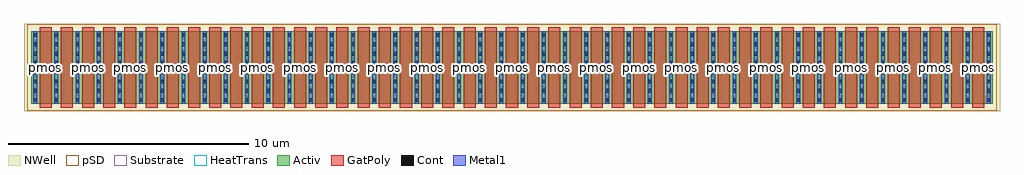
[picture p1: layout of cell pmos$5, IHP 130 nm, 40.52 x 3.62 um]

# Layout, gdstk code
import gdstk
lib = gdstk.Library(unit=1e-6, precision=5e-09)
def R(c, l, rs):  # rectangles x0, y0, x1, y1
    for r in rs: c.add(gdstk.rectangle(r[:2], r[2:], *l))
def A(c, l, x, y, w, h, nx, ny, dx, dy):  # array of equal rectangles
    R(c, l, [(x+i*dx, y+j*dy, x+i*dx+w, y+j*dy+h) for i in range(nx) for j in range(ny)])
Activ = (1, 0)
GatPoly = (5, 0)
Cont = (6, 0)
Metal1 = (8, 0)
pSD = (14, 0)
NWell = (31, 0)
Substrate = (40, 0)
HeatTrans = (51, 0)

pmos_5 = lib.new_cell('pmos$5')
A(pmos_5, Activ, 0, 0, 0.3, 0.3, 46, 1, 0.88, 0)
R(pmos_5, Activ, [(0,0,39.9,3)])
A(pmos_5, GatPoly, 0.34, -0.18, 0.5, 3.36, 45, 1, 0.88, 0)
R(pmos_5, GatPoly, [(0.34,-0.18,0.84,3.18)])
A(pmos_5, Cont, 0.07, 0.07, 0.16, 0.16, 46, 7, 0.88, 0.385)
A(pmos_5, Cont, 0.07, 2.77, 0.16, 0.16, 46, 1, 0.88, 0)
A(pmos_5, Metal1, 0.95, 0, 0.16, 3, 45, 1, 0.88, 0)
R(pmos_5, Metal1, [(0.07,0,0.23,3), (0.07,0,0.23,3), (0.95,0,1.11,3)])
R(pmos_5, pSD, [(-0.18,-0.3,40.08,3.3)])
R(pmos_5, NWell, [(-0.31,-0.31,40.21,3.31)])
R(pmos_5, Substrate, [(39.6,0,39.9,0.3)])
A(pmos_5, HeatTrans, 0.34, -0.18, 0.5, 3.36, 45, 1, 0.88, 0)
pmos_5.add(gdstk.Label('pmos', (0.59,1.5), layer=63, texttype=0))
pmos_5.add(gdstk.Label('pmos', (0.59,1.5), layer=51, texttype=0))
pmos_5.add(gdstk.Label('pmos', (1.47,1.5), layer=51, texttype=0))
pmos_5.add(gdstk.Label('pmos', (2.35,1.5), layer=51, texttype=0))
pmos_5.add(gdstk.Label('pmos', (3.23,1.5), layer=51, texttype=0))
pmos_5.add(gdstk.Label('pmos', (4.11,1.5), layer=51, texttype=0))
pmos_5.add(gdstk.Label('pmos', (4.99,1.5), layer=51, texttype=0))
pmos_5.add(gdstk.Label('pmos', (5.87,1.5), layer=51, texttype=0))
pmos_5.add(gdstk.Label('pmos', (6.75,1.5), layer=51, texttype=0))
pmos_5.add(gdstk.Label('pmos', (7.63,1.5), layer=51, texttype=0))
pmos_5.add(gdstk.Label('pmos', (8.51,1.5), layer=51, texttype=0))
pmos_5.add(gdstk.Label('pmos', (9.39,1.5), layer=51, texttype=0))
pmos_5.add(gdstk.Label('pmos', (10.27,1.5), layer=51, texttype=0))
pmos_5.add(gdstk.Label('pmos', (11.15,1.5), layer=51, texttype=0))
pmos_5.add(gdstk.Label('pmos', (12.03,1.5), layer=51, texttype=0))
pmos_5.add(gdstk.Label('pmos', (12.91,1.5), layer=51, texttype=0))
pmos_5.add(gdstk.Label('pmos', (13.79,1.5), layer=51, texttype=0))
pmos_5.add(gdstk.Label('pmos', (14.67,1.5), layer=51, texttype=0))
pmos_5.add(gdstk.Label('pmos', (15.55,1.5), layer=51, texttype=0))
pmos_5.add(gdstk.Label('pmos', (16.43,1.5), layer=51, texttype=0))
pmos_5.add(gdstk.Label('pmos', (17.31,1.5), layer=51, texttype=0))
pmos_5.add(gdstk.Label('pmos', (18.19,1.5), layer=51, texttype=0))
pmos_5.add(gdstk.Label('pmos', (19.07,1.5), layer=51, texttype=0))
pmos_5.add(gdstk.Label('pmos', (19.95,1.5), layer=51, texttype=0))
pmos_5.add(gdstk.Label('pmos', (20.83,1.5), layer=51, texttype=0))
pmos_5.add(gdstk.Label('pmos', (21.71,1.5), layer=51, texttype=0))
pmos_5.add(gdstk.Label('pmos', (22.59,1.5), layer=51, texttype=0))
pmos_5.add(gdstk.Label('pmos', (23.47,1.5), layer=51, texttype=0))
pmos_5.add(gdstk.Label('pmos', (24.35,1.5), layer=51, texttype=0))
pmos_5.add(gdstk.Label('pmos', (25.23,1.5), layer=51, texttype=0))
pmos_5.add(gdstk.Label('pmos', (26.11,1.5), layer=51, texttype=0))
pmos_5.add(gdstk.Label('pmos', (26.99,1.5), layer=51, texttype=0))
pmos_5.add(gdstk.Label('pmos', (27.87,1.5), layer=51, texttype=0))
pmos_5.add(gdstk.Label('pmos', (28.75,1.5), layer=51, texttype=0))
pmos_5.add(gdstk.Label('pmos', (29.63,1.5), layer=51, texttype=0))
pmos_5.add(gdstk.Label('pmos', (30.51,1.5), layer=51, texttype=0))
pmos_5.add(gdstk.Label('pmos', (31.39,1.5), layer=51, texttype=0))
pmos_5.add(gdstk.Label('pmos', (32.27,1.5), layer=51, texttype=0))
pmos_5.add(gdstk.Label('pmos', (33.15,1.5), layer=51, texttype=0))
pmos_5.add(gdstk.Label('pmos', (34.03,1.5), layer=51, texttype=0))
pmos_5.add(gdstk.Label('pmos', (34.91,1.5), layer=51, texttype=0))
pmos_5.add(gdstk.Label('pmos', (35.79,1.5), layer=51, texttype=0))
pmos_5.add(gdstk.Label('pmos', (36.67,1.5), layer=51, texttype=0))
pmos_5.add(gdstk.Label('pmos', (37.55,1.5), layer=51, texttype=0))
pmos_5.add(gdstk.Label('pmos', (38.43,1.5), layer=51, texttype=0))
pmos_5.add(gdstk.Label('pmos', (39.31,1.5), layer=51, texttype=0))

lib.write_gds('pmos_5.gds')
